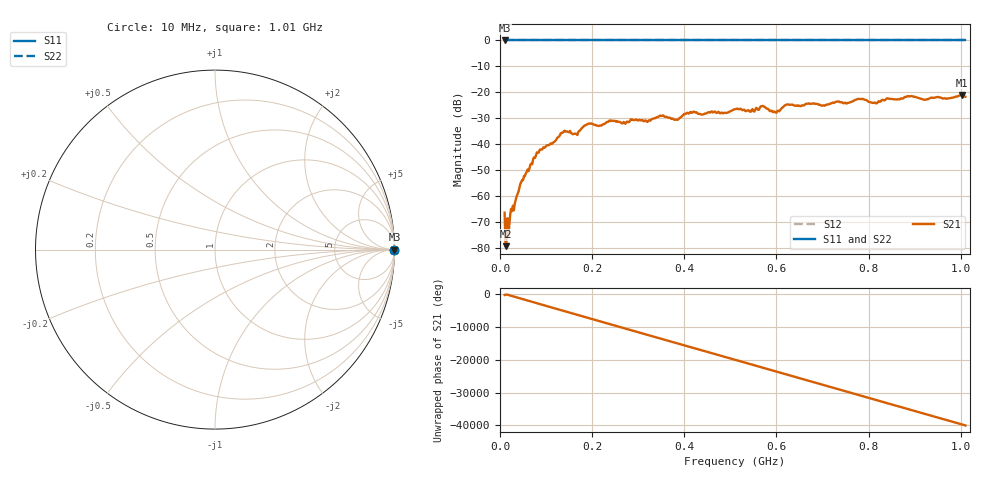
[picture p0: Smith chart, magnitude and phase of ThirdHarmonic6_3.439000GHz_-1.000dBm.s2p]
! 8/17/2025 11:04:55 AM
! C:\ANRITSUVNA\TEMP\TEMP.S2P
! CHANNEL.1
! TR.MEASUREMENT
! RAW.DATA
! RF.CORRECTION.OFF
! AVERAGING.OFF
! IF.BANDWIDTH: 5KHZ
! SWEEPTYPE:  FREQ.SWEEP(Linear)
! Reference Plane Port Info
! PORT:  PORT1  PORT2
! DISTANCE:  0  m  0  m
! TIME:  0  s  0  s
! PHASE.OFFSET:  0  deg.  0  deg.
! LOSS:  0  dB  0  dB
! REF.LOSS:  0  dB  0  dB
! REF.FREQ:  0  Hz  0  Hz
! Power Info
! POWER:  -20  dBm  -20  dBm
! EFF.POWER:  -20  dBm  -20  dBm
! SOURCE.ATTEN:  0  dB  0  dB
! TEST.ATTEN:  0  dB  0  dB
# GHZ S RI R 50.0
! FREQ.GHZ  S11RE  S11IM  S21RE  S21IM  S12RE  S12IM  S22RE  S22IM
!; PortSelection: Port_12
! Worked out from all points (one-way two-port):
!   501 points, 10 MHz to 1.01 GHz, reference 50 ohm
!   highest |S21| = -21.08 dB at 1.002 GHz (marker M1); lowest = -79.5 dB at 12 MHz (marker M2)
!   lowest |S11| = 0.0 dB at 10 MHz (marker M3)
!   |S11| at or under -10 dB: nowhere
!   |S22| runs from 0.0 to 0.0 dB; largest |S21 - S12| = 1.1
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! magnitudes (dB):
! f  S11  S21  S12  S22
! 10 MHz  0.0  -66.5  0.0  0.0
! 12 MHz  0.0  -79.5  0.0  0.0
! 16 MHz  0.0  -68.6  0.0  0.0
! 24 MHz  0.0  -65.0  0.0  0.0
! 44 MHz  0.0  -55.5  0.0  0.0
! 84 MHz  0.0  -43.3  0.0  0.0
! 136 MHz  0.0  -35.7  0.0  0.0
! 164 MHz  0.0  -36.0  0.0  0.0
! 178 MHz  0.0  -33.7  0.0  0.0
! 344 MHz  0.0  -29.5  0.0  0.0
! 382 MHz  0.0  -30.6  0.0  0.0
! 416 MHz  0.0  -27.9  0.0  0.0
! 510 MHz  0.0  -26.6  0.0  0.0
! 570 MHz  0.0  -25.3  0.0  0.0
! 596 MHz  0.0  -27.5  0.0  0.0
! 622 MHz  0.0  -24.8  0.0  0.0
! 678 MHz  0.0  -24.5  0.0  0.0
! 782 MHz  0.0  -22.6  0.0  0.0
! 814 MHz  0.0  -24.0  0.0  0.0
! 844 MHz  0.0  -22.5  0.0  0.0
! 1.002 GHz  0.0  -21.1  0.0  0.0
! 1.01 GHz  0.0  -21.7  0.0  0.0
